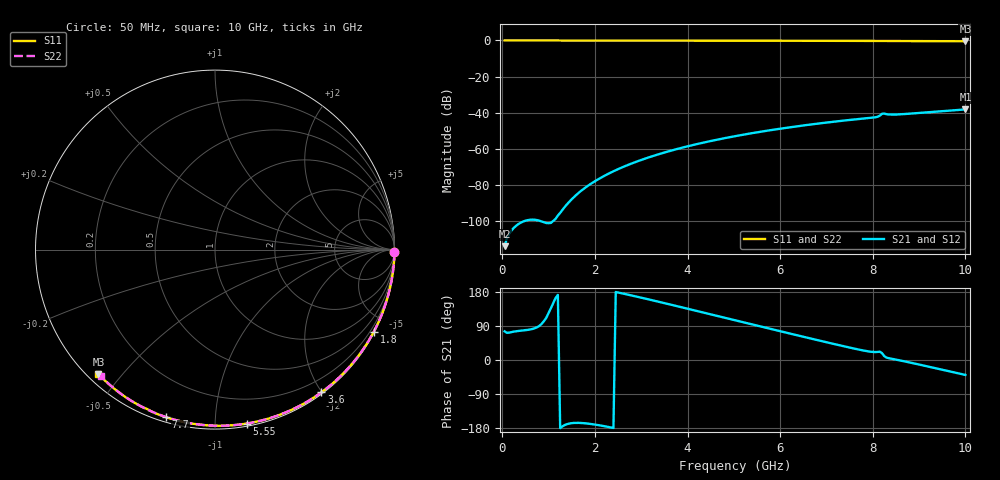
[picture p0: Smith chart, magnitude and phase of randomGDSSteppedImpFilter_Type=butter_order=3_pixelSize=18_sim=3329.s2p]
! freq	dB(S11)	phase(S11)	dB(S12)	phase(S12)
!  dB(S21)	phase(S21)	dB(S22)	phase(S22)
!S-par simulation data
#  GHz  S  DB  R 50
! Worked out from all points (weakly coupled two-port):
!   200 points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, 50 MHz to 10 GHz, reference 50 ohm
!   highest |S21| = -38.23 dB at 10 GHz (marker M1); lowest = -114.0 dB at 50 MHz (marker M2)
!   lowest |S11| = -0.4 dB at 10 GHz (marker M3), VSWR 38.85, Z = 1.53 - j21.7 ohm
!   |S11| at or under -10 dB: nowhere
!   |S22| runs from -0.4 to 0.0 dB; largest |S21 - S12| = 0
!   S11 on the Smith chart (normalised r, x): 50 MHz: open; 1.8 GHz: 0.04, -4.12; 3.6 GHz: 0.02, -1.99; 5.55 GHz: 0.02, -1.20; 7.7 GHz: 0.02, -0.75; 10 GHz: 0.03, -0.43
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0.05  -0.00 -0.8  -113.98 75.6  -113.98 75.6  -0.00 -0.8
0.9  -0.02 -13.8  -100.76 102.7  -100.76 102.7  -0.02 -13.7
1.75  -0.03 -26.5  -82.36 -166.6  -82.36 -166.6  -0.03 -26.4
1.8  -0.03 -27.3  -81.40 -167.1  -81.40 -167.1  -0.03 -27.1
1.9  -0.04 -28.8  -79.63 -168.6  -79.63 -168.6  -0.04 -28.6
2.25  -0.04 -33.9  -74.38 -175.7  -74.38 -175.7  -0.04 -33.7
2.65  -0.05 -39.8  -69.64 174.1  -69.64 174.1  -0.05 -39.5
3  -0.06 -44.8  -66.21 164.5  -66.21 164.5  -0.06 -44.5
3.4  -0.07 -50.5  -62.86 153.0  -62.86 153.0  -0.07 -50.2
3.6  -0.07 -53.3  -61.36 147.2  -61.36 147.2  -0.07 -53.0
4.3  -0.09 -63.0  -56.84 126.5  -56.84 126.5  -0.09 -62.6
5.05  -0.11 -73.1  -52.92 104.1  -52.92 104.1  -0.11 -72.6
5.55  -0.13 -79.6  -50.69 89.3  -50.69 89.3  -0.13 -79.1
6.7  -0.18 -94.2  -46.44 55.5  -46.44 55.5  -0.18 -93.6
7.7  -0.24 -106.4  -43.51 27.4  -43.51 27.4  -0.24 -105.6
8.1  -0.27 -111.2  -42.31 21.3  -42.31 21.3  -0.27 -110.3
8.15  -0.28 -111.8  -41.70 21.9  -41.70 21.9  -0.28 -110.9
8.2  -0.30 -112.4  -40.63 18.2  -40.63 18.2  -0.28 -111.5
8.25  -0.31 -112.9  -40.51 10.0  -40.51 10.0  -0.28 -112.1
8.35  -0.30 -114.0  -41.04 4.7  -41.04 4.7  -0.29 -113.2
8.6  -0.31 -116.9  -40.93 -1.4  -40.93 -1.4  -0.31 -116.2
10  -0.45 -133.1  -38.23 -39.4  -38.23 -39.4  -0.45 -132.2
